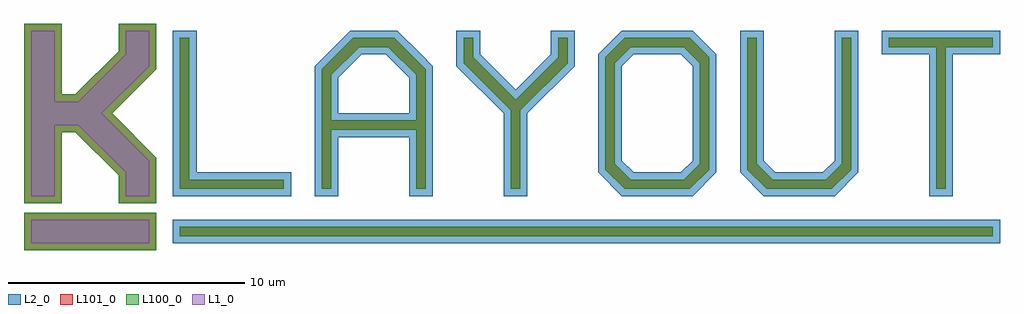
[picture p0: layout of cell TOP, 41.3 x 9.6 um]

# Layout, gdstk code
import gdstk
lib = gdstk.Library(unit=1e-6, precision=1e-09)
def R(c, l, rs):  # rectangles x0, y0, x1, y1
    for r in rs: c.add(gdstk.rectangle(r[:2], r[2:], *l))
def P(c, l, *ps):  # polygons
    for p in ps: c.add(gdstk.Polygon(p, *l))
L1_0 = (1, 0)
L2_0 = (2, 0)
L100_0 = (100, 0)
L101_0 = (101, 0)

top = lib.new_cell('TOP')
R(top, L1_0, [(1,1,6,2)])
P(top, L1_0, [(1,3),(1,10),(2,10),(2,7),(3,7),(5,9),(5,10),(6,10),(6,8.5),(4,6.5),(6,4.5),(6,3),(5,3),(5,4),(3,6),(2,6),(2,3)])
R(top, L2_0, [(7,1,42,2)])
P(top, L2_0, [(7,3),(7,10),(8,10),(8,4),(12,4),(12,3)],
  [(13,3),(13,8.5),(14.5,10),(16.5,10),(17.5,9),(15,9),(14,8),(14,6.5),(17,6.5),(17,8),(16,9),(17.5,9),(18,8.5),(18,3),(17,3),(17,5.5),(14,5.5),(14,3)],
  [(21,3),(21,6.5),(19,8.5),(19,10),(20,10),(20,9),(21.5,7.5),(23,9),(23,10),(24,10),(24,8.5),(22,6.5),(22,3)],
  [(26,3),(25,4),(25,9),(26,10),(29,10),(30,9),(30,6.5),(29,6.5),(29,8.5),(28.5,9),(26.5,9),(26,8.5),(26,4.5),(26.5,4),(28.5,4),(29,4.5),(29,6.5),(30,6.5),(30,4),(29,3)],
  [(32,3),(31,4),(31,10),(32,10),(32,4.5),(32.5,4),(34.5,4),(35,4.5),(35,10),(36,10),(36,4),(35,3)],
  [(39,3),(39,9),(37,9),(37,10),(42,10),(42,9),(40,9),(40,3)])
R(top, L100_0, [(0.7,0.7,6.3,2.3), (7.3,1.3,41.7,1.7)])
P(top, L100_0, [(0.7,2.7),(0.7,10.3),(2.3,10.3),(2.3,7.3),(2.876,7.3),(4.7,9.124),(4.7,10.3),(6.3,10.3),(6.3,8.376),(4.424,6.5),(6.3,4.624),(6.3,2.7),(4.7,2.7),(4.7,3.876),(2.876,5.7),(2.3,5.7),(2.3,2.7)],
  [(7.3,3.3),(7.3,9.7),(7.7,9.7),(7.7,3.7),(11.7,3.7),(11.7,3.3)],
  [(13.3,3.3),(13.3,8.376),(14.224,9.3),(14.876,9.3),(13.7,8.124),(13.7,6.2),(17.3,6.2),(17.3,8.124),(16.124,9.3),(14.224,9.3),(14.624,9.7),(16.376,9.7),(17.7,8.376),(17.7,3.3),(17.3,3.3),(17.3,5.8),(13.7,5.8),(13.7,3.3)],
  [(21.3,3.3),(21.3,6.624),(19.3,8.624),(19.3,9.7),(19.7,9.7),(19.7,8.876),(21.5,7.076),(23.3,8.876),(23.3,9.7),(23.7,9.7),(23.7,8.624),(21.7,6.624),(21.7,3.3)],
  [(26.124,3.3),(25.3,4.124),(25.3,8.876),(25.724,9.3),(26.376,9.3),(25.7,8.624),(25.7,4.376),(26.376,3.7),(28.624,3.7),(29.3,4.376),(29.3,8.624),(28.624,9.3),(25.724,9.3),(26.124,9.7),(28.876,9.7),(29.7,8.876),(29.7,4.124),(28.876,3.3)],
  [(32.124,3.3),(31.3,4.124),(31.3,9.7),(31.7,9.7),(31.7,4.376),(32.376,3.7),(34.624,3.7),(35.3,4.376),(35.3,9.7),(35.7,9.7),(35.7,4.124),(34.876,3.3)],
  [(39.3,3.3),(39.3,9.3),(37.3,9.3),(37.3,9.7),(41.7,9.7),(41.7,9.3),(39.7,9.3),(39.7,3.3)])
R(top, L101_0, [(0.7,0.7,6.3,2.3), (7.3,1.3,41.7,1.7)])
P(top, L101_0, [(0.7,2.7),(0.7,10.3),(2.3,10.3),(2.3,7.3),(2.876,7.3),(4.7,9.124),(4.7,10.3),(6.3,10.3),(6.3,8.376),(4.424,6.5),(6.3,4.624),(6.3,2.7),(4.7,2.7),(4.7,3.876),(2.876,5.7),(2.3,5.7),(2.3,2.7)],
  [(7.3,3.3),(7.3,9.7),(7.7,9.7),(7.7,3.7),(11.7,3.7),(11.7,3.3)],
  [(13.3,3.3),(13.3,8.376),(14.224,9.3),(14.876,9.3),(13.7,8.124),(13.7,6.2),(17.3,6.2),(17.3,8.124),(16.124,9.3),(14.224,9.3),(14.624,9.7),(16.376,9.7),(17.7,8.376),(17.7,3.3),(17.3,3.3),(17.3,5.8),(13.7,5.8),(13.7,3.3)],
  [(21.3,3.3),(21.3,6.624),(19.3,8.624),(19.3,9.7),(19.7,9.7),(19.7,8.876),(21.5,7.076),(23.3,8.876),(23.3,9.7),(23.7,9.7),(23.7,8.624),(21.7,6.624),(21.7,3.3)],
  [(26.124,3.3),(25.3,4.124),(25.3,8.876),(25.724,9.3),(26.376,9.3),(25.7,8.624),(25.7,4.376),(26.376,3.7),(28.624,3.7),(29.3,4.376),(29.3,8.624),(28.624,9.3),(25.724,9.3),(26.124,9.7),(28.876,9.7),(29.7,8.876),(29.7,4.124),(28.876,3.3)],
  [(32.124,3.3),(31.3,4.124),(31.3,9.7),(31.7,9.7),(31.7,4.376),(32.376,3.7),(34.624,3.7),(35.3,4.376),(35.3,9.7),(35.7,9.7),(35.7,4.124),(34.876,3.3)],
  [(39.3,3.3),(39.3,9.3),(37.3,9.3),(37.3,9.7),(41.7,9.7),(41.7,9.3),(39.7,9.3),(39.7,3.3)])

lib.write_gds('TOP.gds')
